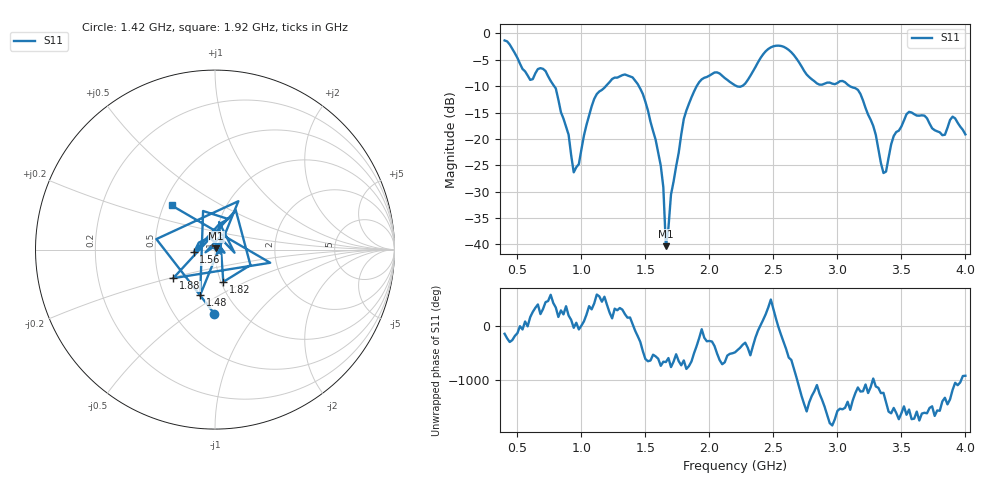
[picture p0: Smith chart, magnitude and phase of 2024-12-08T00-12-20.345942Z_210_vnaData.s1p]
!Created with skrf (http://scikit-rf.org).
# Hz S RI R 50.0
!freq ReS11 ImS11
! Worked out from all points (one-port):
!   181 points, 400 MHz to 4 GHz, reference 50 ohm
!   lowest |S11| = -40.3 dB at 1.66 GHz (marker M1), VSWR 1.02, Z = 50.6 + j0.762 ohm
!   |S11| at or under -10 dB: 787.7 MHz to 1.19 GHz (402.6 MHz wide, 40.7 % of centre); 1.449 GHz to 1.9 GHz (450.6 MHz wide, 26.9 % of centre); 3.098 GHz to end of sweep (the widest 3 of 4)
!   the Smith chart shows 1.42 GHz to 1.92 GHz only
!   S11 on the Smith chart (normalised r, x): 1.42 GHz: 0.77, -0.63; 1.48 GHz: 0.75, -0.41; 1.56 GHz: 0.79, -0.02; 1.82 GHz: 1.02, -0.38; 1.88 GHz: 0.60, -0.21; 1.92 GHz: 0.55, +0.31
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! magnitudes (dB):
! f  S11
! 400 MHz  -1.3
! 600 MHz  -8.8
! 720 MHz  -7.1
! 860 MHz  -16.1
! 940 MHz  -26.3
! 1.1 GHz  -12.4
! 1.3 GHz  -8.1
! 1.42 GHz  -9.0
! 1.48 GHz  -11.5
! 1.56 GHz  -18.5
! 1.64 GHz  -29.1
! 1.66 GHz  -40.3
! 1.7 GHz  -30.5
! 1.76 GHz  -22.6
! 1.82 GHz  -14.6
! 1.88 GHz  -11.0
! 1.92 GHz  -9.2
! 2.2 GHz  -9.8
! 2.48 GHz  -2.6
! 2.66 GHz  -4.1
! 2.84 GHz  -9.5
! 3.1 GHz  -10.0
! 3.28 GHz  -17.5
! 3.36 GHz  -26.5
! 3.56 GHz  -14.9
! 3.82 GHz  -19.3
! 3.9 GHz  -15.8
! 4 GHz  -19.1
